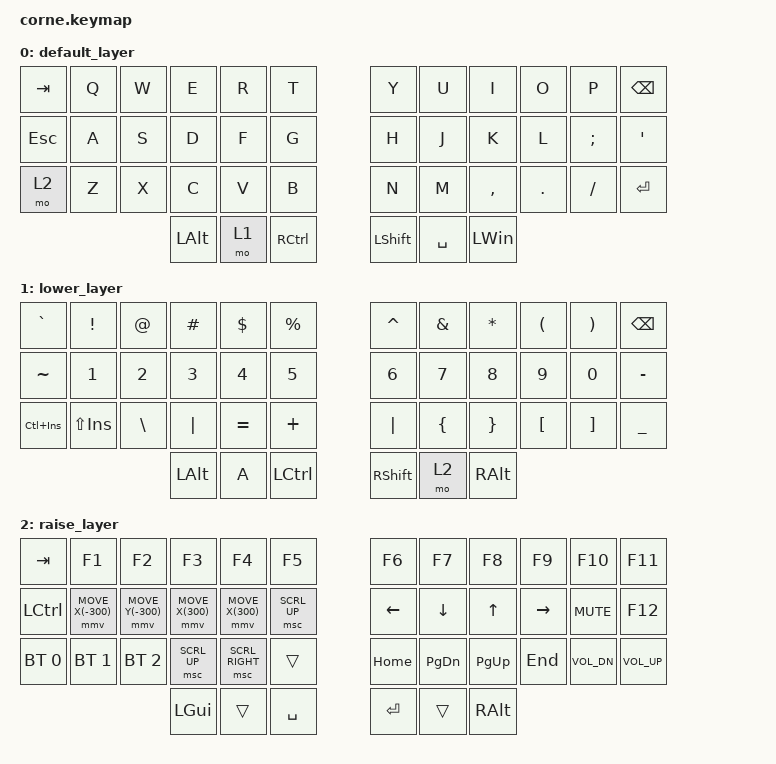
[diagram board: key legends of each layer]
/*
 * Copyright (c) 2020 The ZMK Contributors
 *
 * SPDX-License-Identifier: MIT
 */

#include <behaviors.dtsi>
#include <dt-bindings/zmk/bt.h>
#include <dt-bindings/zmk/keys.h>
#include <dt-bindings/zmk/pointing.h>

/ {
    keymap {
        compatible = "zmk,keymap";

        default_layer {
            // -----------------------------------------------------------------------------------------
            // |  TAB |  Q  |  W  |  E  |  R  |  T  |   |  Y  |  U   |  I  |  O  |  P  | BKSP |
            // | CTRL |  A  |  S  |  D  |  F  |  G  |   |  H  |  J   |  K  |  L  |  ;  |  '   |
            // | SHFT |  Z  |  X  |  C  |  V  |  B  |   |  N  |  M   |  ,  |  .  |  /  | ESC  |
            //                    | GUI | LWR | SPC |   | ENT | RSE  | ALT |

            bindings = <
&kp TAB  &kp Q  &kp W  &kp E         &kp R  &kp T        &kp Y           &kp U      &kp I         &kp O    &kp P     &kp BSPC
&kp ESC  &kp A  &kp S  &kp D         &kp F  &kp G        &kp H           &kp J      &kp K         &kp L    &kp SEMI  &kp SQT
&mo 2    &kp Z  &kp X  &kp C         &kp V  &kp B        &kp N           &kp M      &kp COMMA     &kp DOT  &kp FSLH  &kp ENTER
                       &kp LEFT_ALT  &mo 1  &kp RCTRL    &kp LEFT_SHIFT  &kp SPACE  &kp LEFT_WIN
            >;
        };

        lower_layer {
            // -----------------------------------------------------------------------------------------
            // |  TAB |  1  |  2  |  3  |  4  |  5  |   |  6  |  7  |  8  |  9  |  0  | BKSP |
            // | BTCLR| BT1 | BT2 | BT3 | BT4 | BT5 |   | LFT | DWN |  UP | RGT |     |      |
            // | SHFT |     |     |     |     |     |   |     |     |     |     |     |      |
            //                    | GUI |     | SPC |   | ENT |     | ALT |

            bindings = <
&kp GRAVE       &kp EXCLAMATION  &kp AT_SIGN    &kp HASH      &kp DOLLAR    &kp PERCENT     &kp CARET        &kp AMPERSAND   &kp ASTERISK     &kp LEFT_PARENTHESIS  &kp RIGHT_PARENTHESIS  &kp BACKSPACE
&kp TILDE       &kp NUMBER_1     &kp NUMBER_2   &kp NUMBER_3  &kp NUMBER_4  &kp NUMBER_5    &kp NUMBER_6     &kp NUMBER_7    &kp N8           &kp NUMBER_9          &kp NUMBER_0           &kp MINUS
&kp LC(INSERT)  &kp LS(INSERT)   &kp BACKSLASH  &kp PIPE      &kp EQUAL     &kp PLUS        &kp PIPE         &kp LEFT_BRACE  &kp RIGHT_BRACE  &kp LEFT_BRACKET      &kp RIGHT_BRACKET      &kp UNDER
                                                &kp LEFT_ALT  &kp A         &kp LCTRL       &kp RIGHT_SHIFT  &mo 2           &kp RALT
            >;
        };

        raise_layer {
            // -----------------------------------------------------------------------------------------
            // |  TAB |  !  |  @  |  #  |  $  |  %  |   |  ^  |  &  |  *  |  (  |  )  | BKSP |
            // | CTRL |     |     |     |     |     |   |  -  |  =  |  [  |  ]  |  \  |  `   |
            // | SHFT |     |     |     |     |     |   |  _  |  +  |  {  |  }  | "|" |  ~   |
            //                    | GUI |     | SPC |   | ENT |     | ALT |

            bindings = <
&kp TAB       &kp F1             &kp F2             &kp F3            &kp F4            &kp F5          &kp F6          &kp F7         &kp F8        &kp F9     &kp F10       &kp F11
&kp LCTRL     &mmv MOVE_X(-300)  &mmv MOVE_Y(-300)  &mmv MOVE_X(300)  &mmv MOVE_X(300)  &msc SCRL_UP    &kp LEFT_ARROW  &kp DOWN       &kp UP_ARROW  &kp RIGHT  &kp C_MUTE    &kp F12
&bt BT_SEL 0  &bt BT_SEL 1       &bt BT_SEL 2       &msc SCRL_UP      &msc SCRL_RIGHT   &trans          &kp HOME        &kp PAGE_DOWN  &kp PAGE_UP   &kp END    &kp C_VOL_DN  &kp C_VOLUME_UP
                                                    &kp LGUI          &trans            &kp SPACE       &kp RET         &trans         &kp RALT
            >;
        };
    };
};
